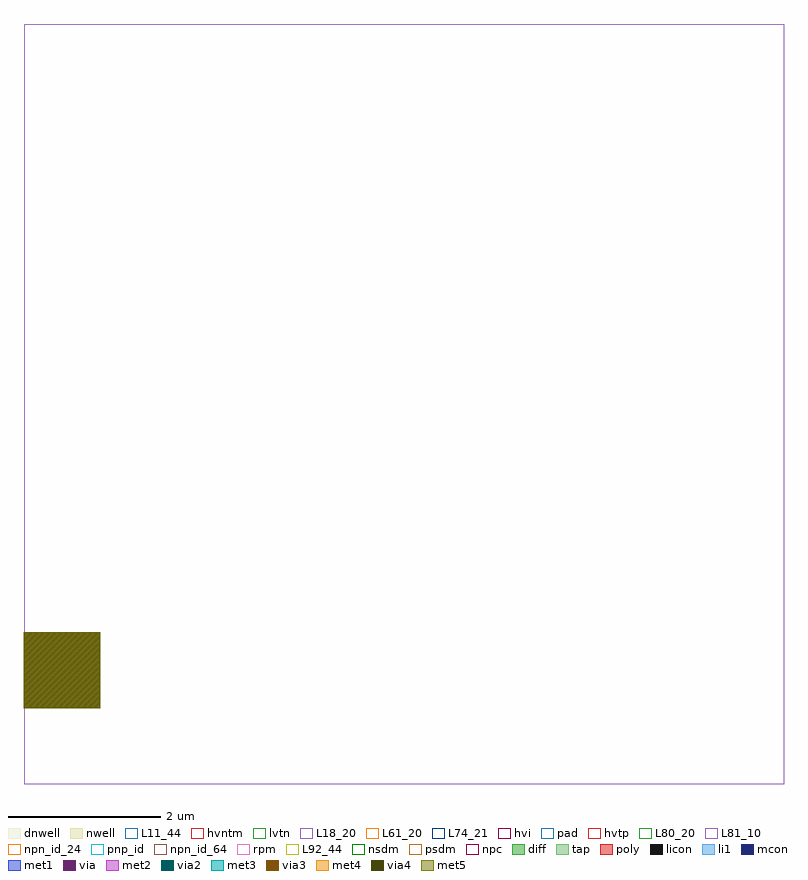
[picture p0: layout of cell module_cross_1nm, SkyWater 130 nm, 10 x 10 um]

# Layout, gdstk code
import gdstk
lib = gdstk.Library(unit=1e-6, precision=1e-09)
def R(c, l, rs):  # rectangles x0, y0, x1, y1
    for r in rs: c.add(gdstk.rectangle(r[:2], r[2:], *l))
L11_44 = (11, 44)
L18_20 = (18, 20)
L61_20 = (61, 20)
dnwell = (64, 18)
nwell = (64, 20)
diff = (65, 20)
tap = (65, 44)
poly = (66, 20)
licon = (66, 44)
li1 = (67, 20)
mcon = (67, 44)
met1 = (68, 20)
via = (68, 44)
met2 = (69, 20)
via2 = (69, 44)
met3 = (70, 20)
via3 = (70, 44)
met4 = (71, 20)
via4 = (71, 44)
met5 = (72, 20)
L74_21 = (74, 21)
hvi = (75, 20)
pad = (76, 20)
hvtp = (78, 44)
L80_20 = (80, 20)
L81_10 = (81, 10)
npn_id_24 = (82, 24)
pnp_id = (82, 44)
npn_id_64 = (82, 64)
rpm = (86, 20)
L92_44 = (92, 44)
nsdm = (93, 44)
psdm = (94, 20)
npc = (95, 20)
hvntm = (125, 20)
lvtn = (125, 44)

module_cross_1nm = lib.new_cell('module_cross_1nm')
R(module_cross_1nm, L11_44, [(-0.001,1,1,2)])
R(module_cross_1nm, L18_20, [(-0.001,1,1,2)])
R(module_cross_1nm, L61_20, [(-0.001,1,1,2)])
R(module_cross_1nm, dnwell, [(-0.001,1,1,2)])
R(module_cross_1nm, nwell, [(-0.001,1,1,2)])
R(module_cross_1nm, diff, [(-0.001,1,1,2)])
R(module_cross_1nm, tap, [(-0.001,1,1,2)])
R(module_cross_1nm, poly, [(-0.001,1,1,2)])
R(module_cross_1nm, licon, [(-0.001,1,1,2)])
R(module_cross_1nm, li1, [(-0.001,1,1,2)])
R(module_cross_1nm, mcon, [(-0.001,1,1,2)])
R(module_cross_1nm, met1, [(-0.001,1,1,2)])
R(module_cross_1nm, via, [(-0.001,1,1,2)])
R(module_cross_1nm, met2, [(-0.001,1,1,2)])
R(module_cross_1nm, via2, [(-0.001,1,1,2)])
R(module_cross_1nm, met3, [(-0.001,1,1,2)])
R(module_cross_1nm, via3, [(-0.001,1,1,2)])
R(module_cross_1nm, met4, [(-0.001,1,1,2)])
R(module_cross_1nm, via4, [(-0.001,1,1,2)])
R(module_cross_1nm, met5, [(-0.001,1,1,2)])
R(module_cross_1nm, L74_21, [(-0.001,1,1,2)])
R(module_cross_1nm, hvi, [(-0.001,1,1,2)])
R(module_cross_1nm, pad, [(-0.001,1,1,2)])
R(module_cross_1nm, hvtp, [(-0.001,1,1,2)])
R(module_cross_1nm, L80_20, [(-0.001,1,1,2)])
R(module_cross_1nm, L81_10, [(0,0,10,10)])
R(module_cross_1nm, npn_id_24, [(-0.001,1,1,2)])
R(module_cross_1nm, pnp_id, [(-0.001,1,1,2)])
R(module_cross_1nm, npn_id_64, [(-0.001,1,1,2)])
R(module_cross_1nm, rpm, [(-0.001,1,1,2)])
R(module_cross_1nm, L92_44, [(-0.001,1,1,2)])
R(module_cross_1nm, nsdm, [(-0.001,1,1,2)])
R(module_cross_1nm, psdm, [(-0.001,1,1,2)])
R(module_cross_1nm, npc, [(-0.001,1,1,2)])
R(module_cross_1nm, hvntm, [(-0.001,1,1,2)])
R(module_cross_1nm, lvtn, [(-0.001,1,1,2)])

lib.write_gds('module_cross_1nm.gds')
